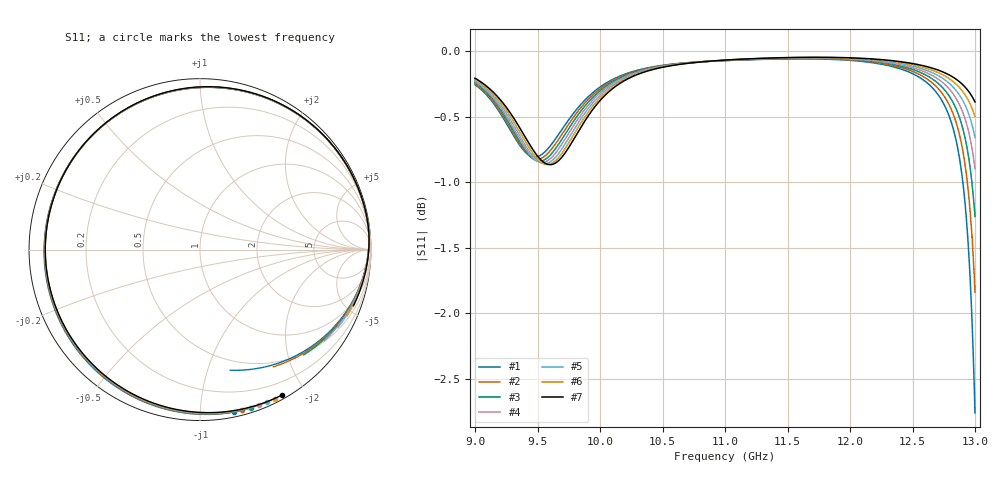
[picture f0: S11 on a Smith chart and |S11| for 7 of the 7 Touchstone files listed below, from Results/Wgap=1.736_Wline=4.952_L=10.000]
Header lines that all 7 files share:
! TOUCHSTONE file generated by CST DESIGN STUDIO
! Project name: C:\Work\MatlabApps\UnitCellOptimizationMatlab\CST\unitcell.cst
! Tree item: Tasks\Sweep1\SPara1\S-Parameters
! Header version: 2024
! Port assignment regex: !\s*Touchstone port\s*([0-9]+)\s*=\s*(CST MWS port|CST DES external port|CST DES block port)\s*(.+)\s* \(\"(.*)\"\)(\s*mode\s*([0-9]+))?.*
! Touchstone port assignment:
! Touchstone port 1 = CST DES external port 1 ("")
# GHz S MA R 50
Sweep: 9 GHz to 13 GHz
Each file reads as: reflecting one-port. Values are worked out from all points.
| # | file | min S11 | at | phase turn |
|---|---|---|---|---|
| 1 | DS_for_MWS-run-0005.s1p | -2.8 dB | 13 GHz | -358 deg |
| 2 | DS_for_MWS-run-0006.s1p | -1.8 dB | 13 GHz | -343 deg |
| 3 | DS_for_MWS-run-0007.s1p | -1.3 dB | 13 GHz | -333 deg |
| 4 | DS_for_MWS-run-0008.s1p | -0.9 dB | 13 GHz | -327 deg |
| 5 | DS_for_MWS-run-0009.s1p | -0.9 dB | 9.557 GHz | -323 deg |
| 6 | DS_for_MWS-run-0010.s1p | -0.9 dB | 9.579 GHz | -321 deg |
| 7 | DS_for_MWS-run-0011.s1p | -0.9 dB | 9.601 GHz | -319 deg |
